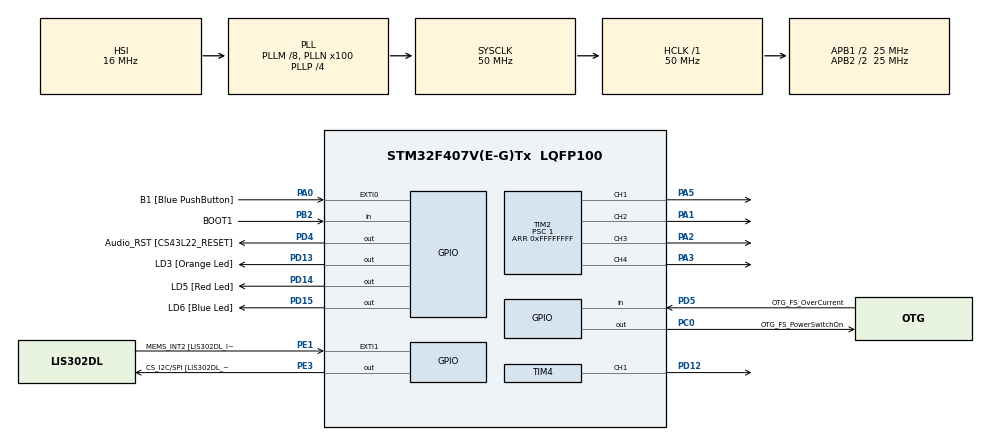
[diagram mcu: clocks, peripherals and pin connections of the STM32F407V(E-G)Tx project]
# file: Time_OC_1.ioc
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Dma.Request0=TIM4_CH1
Dma.TIM4_CH1.0.Direction=DMA_PERIPH_TO_MEMORY
Dma.TIM4_CH1.0.FIFOMode=DMA_FIFOMODE_DISABLE
Dma.TIM4_CH1.0.Instance=DMA1_Stream0
Dma.TIM4_CH1.0.MemDataAlignment=DMA_MDATAALIGN_HALFWORD
Dma.TIM4_CH1.0.MemInc=DMA_MINC_ENABLE
Dma.TIM4_CH1.0.Mode=DMA_NORMAL
Dma.TIM4_CH1.0.PeriphDataAlignment=DMA_PDATAALIGN_HALFWORD
Dma.TIM4_CH1.0.PeriphInc=DMA_PINC_DISABLE
Dma.TIM4_CH1.0.Priority=DMA_PRIORITY_LOW
Mcu.Family=STM32F4
Mcu.Name=STM32F407V(E-G)Tx
Mcu.Package=LQFP100
NVIC.DMA1_Stream0_IRQn=true\:0\:0\:false\:false\:true\:false\:true
NVIC.PriorityGroup=NVIC_PRIORITYGROUP_0
NVIC.TIM2_IRQn=true\:0\:0\:false\:false\:true\:true\:true
NVIC.TIM4_IRQn=true\:0\:0\:false\:false\:true\:true\:true
PA0-WKUP.GPIO_Label=B1 [Blue PushButton]
PA0-WKUP.Signal=GPXTI0
PA1.Signal=S_TIM2_CH2
PA10.GPIO_Label=OTG_FS_ID
PA10.GPIO_Mode=GPIO_MODE_AF_PP
PA10.GPIO_PuPd=GPIO_NOPULL
PA10.GPIO_Speed=GPIO_SPEED_FREQ_LOW
PA10.Signal=USB_OTG_FS_ID
PA11.GPIO_Label=OTG_FS_DM
PA11.GPIO_Mode=GPIO_MODE_AF_PP
PA11.GPIO_PuPd=GPIO_NOPULL
PA11.GPIO_Speed=GPIO_SPEED_FREQ_LOW
PA11.Signal=USB_OTG_FS_DM
PA12.GPIO_Label=OTG_FS_DP
PA12.GPIO_Mode=GPIO_MODE_AF_PP
PA12.GPIO_PuPd=GPIO_NOPULL
PA12.GPIO_Speed=GPIO_SPEED_FREQ_LOW
PA12.Signal=USB_OTG_FS_DP
PA13.GPIO_Label=SWDIO
PA13.Signal=SYS_JTMS-SWDIO
PA14.GPIO_Label=SWCLK
PA14.Signal=SYS_JTCK-SWCLK
PA2.Signal=S_TIM2_CH3
PA3.Signal=S_TIM2_CH4
PA4.GPIO_Label=I2S3_WS [CS43L22_LRCK]
PA4.GPIO_Mode=GPIO_MODE_AF_PP
PA4.GPIO_PuPd=GPIO_NOPULL
PA4.GPIO_Speed=GPIO_SPEED_FREQ_LOW
PA4.Signal=I2S3_WS
PA5.Signal=S_TIM2_CH1_ETR
PA6.GPIO_Label=SPI1_MISO [LIS302DL_SDO]
PA6.GPIO_Mode=GPIO_MODE_AF_PP
PA6.GPIO_PuPd=GPIO_NOPULL
PA6.GPIO_Speed=GPIO_SPEED_FREQ_LOW
PA6.Signal=SPI1_MISO
PA7.GPIO_Label=SPI1_MOSI [LIS302DL_SDA/SDI/SDO]
PA7.GPIO_Mode=GPIO_MODE_AF_PP
PA7.GPIO_PuPd=GPIO_NOPULL
PA7.GPIO_Speed=GPIO_SPEED_FREQ_LOW
PA7.Signal=SPI1_MOSI
PA9.GPIO_Label=VBUS_FS
PA9.GPIO_Mode=GPIO_MODE_INPUT
PA9.GPIO_PuPd=GPIO_NOPULL
PA9.Signal=USB_OTG_FS_VBUS
PB10.GPIO_Label=CLK_IN [MP45DT02_CLK]
PB10.GPIO_Mode=GPIO_MODE_AF_PP
PB10.GPIO_PuPd=GPIO_NOPULL
PB10.GPIO_Speed=GPIO_SPEED_FREQ_LOW
PB10.Signal=I2S2_CK
PB2.GPIO_Label=BOOT1
PB2.GPIO_Mode=GPIO_MODE_INPUT
PB2.GPIO_PuPd=GPIO_NOPULL
PB2.Signal=GPIO_Input
PB3.GPIO_Label=SWO
PB3.Signal=SYS_JTDO-SWO
PB6.GPIO_Label=Audio_SCL [CS43L22_SCL]
PB6.GPIO_Mode=GPIO_MODE_AF_OD
PB6.GPIO_PuPd=GPIO_NOPULL
PB6.GPIO_Speed=GPIO_SPEED_FREQ_LOW
PB6.Signal=I2C1_SCL
PB9.GPIO_Label=Audio_SDA [CS43L22_SDA]
PB9.GPIO_Mode=GPIO_MODE_AF_OD
PB9.GPIO_PuPd=GPIO_NOPULL
PB9.GPIO_Speed=GPIO_SPEED_FREQ_LOW
PB9.Signal=I2C1_SDA
PC0.GPIO_Label=OTG_FS_PowerSwitchOn
PC0.GPIO_PuPd=GPIO_NOPULL
PC0.GPIO_Speed=GPIO_SPEED_FREQ_LOW
PC0.PinState=GPIO_PIN_SET
PC0.Signal=GPIO_Output
PC10.GPIO_Label=I2S3_SCK [CS43L22_SCLK]
PC10.GPIO_Mode=GPIO_MODE_AF_PP
PC10.GPIO_PuPd=GPIO_NOPULL
PC10.GPIO_Speed=GPIO_SPEED_FREQ_LOW
PC10.Signal=I2S3_CK
PC12.GPIO_Label=I2S3_SD [CS43L22_SDIN]
PC12.GPIO_Mode=GPIO_MODE_AF_PP
PC12.GPIO_PuPd=GPIO_NOPULL
PC12.GPIO_Speed=GPIO_SPEED_FREQ_LOW
PC12.Signal=I2S3_SD
PC14-OSC32_IN.GPIO_Label=PC14-OSC32_IN
PC14-OSC32_IN.Signal=RCC_OSC32_IN
PC15-OSC32_OUT.GPIO_Label=PC15-OSC32_OUT
PC15-OSC32_OUT.Signal=RCC_OSC32_OUT
PC3.GPIO_Label=PDM_OUT [MP45DT02_DOUT]
PC3.GPIO_Mode=GPIO_MODE_AF_PP
PC3.GPIO_PuPd=GPIO_NOPULL
PC3.GPIO_Speed=GPIO_SPEED_FREQ_LOW
PC3.Signal=I2S2_SD
PC7.GPIO_Label=I2S3_MCK [CS43L22_MCLK]
PC7.GPIO_Mode=GPIO_MODE_AF_PP
PC7.GPIO_PuPd=GPIO_NOPULL
PC7.GPIO_Speed=GPIO_SPEED_FREQ_LOW
PC7.Signal=I2S3_MCK
PD12.Signal=S_TIM4_CH1
PD13.GPIO_Label=LD3 [Orange Led]
PD13.GPIO_PuPd=GPIO_NOPULL
PD13.GPIO_Speed=GPIO_SPEED_FREQ_LOW
PD13.Signal=GPIO_Output
PD14.GPIO_Label=LD5 [Red Led]
PD14.GPIO_PuPd=GPIO_NOPULL
PD14.GPIO_Speed=GPIO_SPEED_FREQ_LOW
PD14.Signal=GPIO_Output
PD15.GPIO_Label=LD6 [Blue Led]
PD15.GPIO_PuPd=GPIO_NOPULL
PD15.GPIO_Speed=GPIO_SPEED_FREQ_LOW
PD15.Signal=GPIO_Output
PD4.GPIO_Label=Audio_RST [CS43L22_RESET]
PD4.GPIO_PuPd=GPIO_NOPULL
PD4.GPIO_Speed=GPIO_SPEED_FREQ_LOW
PD4.Signal=GPIO_Output
PD5.GPIO_Label=OTG_FS_OverCurrent
PD5.GPIO_Mode=GPIO_MODE_INPUT
PD5.GPIO_PuPd=GPIO_NOPULL
PD5.Signal=GPIO_Input
PE1.GPIO_Label=MEMS_INT2 [LIS302DL_INT2]
PE1.GPIO_ModeDefaultEXTI=GPIO_MODE_EVT_RISING
PE1.GPIO_PuPd=GPIO_NOPULL
PE1.Signal=GPXTI1
PE3.GPIO_Label=CS_I2C/SPI [LIS302DL_CS_I2C/SPI]
PE3.GPIO_PuPd=GPIO_NOPULL
PE3.GPIO_Speed=GPIO_SPEED_FREQ_LOW
PE3.Signal=GPIO_Output
PH0-OSC_IN.GPIO_Label=PH0-OSC_IN
PH0-OSC_IN.Mode=HSE-External-Oscillator
PH0-OSC_IN.Signal=RCC_OSC_IN
PH1-OSC_OUT.GPIO_Label=PH1-OSC_OUT
PH1-OSC_OUT.Mode=HSE-External-Oscillator
PH1-OSC_OUT.Signal=RCC_OSC_OUT
ProjectManager.HeapSize=0x200
ProjectManager.StackSize=0x400
ProjectManager.TargetToolchain=STM32CubeIDE
RCC.48MHZClocksFreq_Value=28571428.57142857
RCC.AHBFreq_Value=50000000
RCC.APB1CLKDivider=RCC_HCLK_DIV2
RCC.APB1Freq_Value=25000000
RCC.APB1TimFreq_Value=50000000
RCC.APB2CLKDivider=RCC_HCLK_DIV2
RCC.APB2Freq_Value=25000000
RCC.APB2TimFreq_Value=50000000
RCC.CortexFreq_Value=50000000
RCC.HCLKFreq_Value=50000000
RCC.HSE_VALUE=8000000
RCC.HSI_VALUE=16000000
RCC.LSE_VALUE=32768
RCC.PLLM=8
RCC.PLLN=100
RCC.PLLP=RCC_PLLP_DIV4
RCC.PLLQ=7
RCC.SYSCLKFreq_VALUE=50000000
RCC.SYSCLKSource=RCC_SYSCLKSOURCE_PLLCLK
RCC.VCOOutputFreq_Value=200000000
SH.S_TIM2_CH1_ETR.0=TIM2_CH1,Output Compare1 CH1
SH.S_TIM2_CH2.0=TIM2_CH2,Output Compare2 CH2
SH.S_TIM2_CH3.0=TIM2_CH3,Output Compare3 CH3
SH.S_TIM2_CH4.0=TIM2_CH4,Output Compare4 CH4
SH.S_TIM4_CH1.0=TIM4_CH1,Output Compare1 CH1
TIM2.Channel-Output\ Compare1\ CH1=TIM_CHANNEL_1
TIM2.Channel-Output\ Compare2\ CH2=TIM_CHANNEL_2
TIM2.Channel-Output\ Compare3\ CH3=TIM_CHANNEL_3
TIM2.Channel-Output\ Compare4\ CH4=TIM_CHANNEL_4
TIM2.OC1Preload=DISABLE
TIM2.OC2Preload=DISABLE
TIM2.OC3Preload=DISABLE
TIM2.OC4Preload=DISABLE
TIM2.OCMode_1=TIM_OCMODE_TOGGLE
TIM2.OCMode_2=TIM_OCMODE_TOGGLE
TIM2.OCMode_3=TIM_OCMODE_TOGGLE
TIM2.OCMode_4=TIM_OCMODE_TOGGLE
TIM2.Period=0xFFFFFFFF
TIM2.Prescaler=1
TIM2.Pulse-Output\ Compare1\ CH1=25000
TIM2.Pulse-Output\ Compare2\ CH2=12500
TIM2.Pulse-Output\ Compare3\ CH3=6250
TIM2.Pulse-Output\ Compare4\ CH4=3125
TIM4.Channel-Output\ Compare1\ CH1=TIM_CHANNEL_1
TIM4.OCMode_1=TIM_OCMODE_TOGGLE
TIM4.Period=0xFFFF
TIM4.Prescaler=1999
TIM4.Pulse-Output\ Compare1\ CH1=12500
board=STM32F407G-DISC1

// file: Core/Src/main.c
/* USER CODE BEGIN Header */
/**
  ******************************************************************************
  * @file           : main.c
  * @brief          : Program configures and starts all 4 TIM2 channels in output capture mode and generates 4 different signals to be output
  * 				  on different pins.  A 0.5 Hz signal is generated using TIM4 CH1 output compare mode and output on PD12 to blink LED in 1s
  * 				  intervals.
  *
    				  TIM2 GPIO Configuration
						PA5     ------> TIM2_CH1 (500Hz)
						PA1     ------> TIM2_CH2 (1KHz)
						PA2     ------> TIM2_CH3 (2KHz)
						PA3     ------> TIM2_CH4 (4KHz)

    				  TIM4 GPIO Configuration
						PD12     ------> TIM4_CH1 (0.5Hz)
  *
  ******************************************************************************
  * @attention
  *
  * <h2><center>&copy; Copyright (c) 2020 STMicroelectronics.
  * All rights reserved.</center></h2>
  *
  * This software component is licensed by ST under BSD 3-Clause license,
  * the "License"; You may not use this file except in compliance with the
  * License. You may obtain a copy of the License at:
  *                        opensource.org/licenses/BSD-3-Clause
  *
  ******************************************************************************
  */
/* USER CODE END Header */

#include "main.h"

TIM_HandleTypeDef htim2;
TIM_HandleTypeDef htim4;
DMA_HandleTypeDef hdma_tim4_ch1;

void SystemClock_Config(void);
static void MX_GPIO_Init(void);
static void MX_DMA_Init(void);
static void MX_TIM2_Init(void);
static void MX_TIM4_Init(void);

int main(void)
{

  /* MCU Configuration--------------------------------------------------------*/

  /* Reset of all peripherals, Initializes the Flash interface and the Systick. */
  HAL_Init();

  /* Configure the system clock */
  SystemClock_Config();

  /* Initialize all configured peripherals */
  MX_GPIO_Init();
  MX_DMA_Init();
  MX_TIM2_Init();
  MX_TIM4_Init();
  /* USER CODE BEGIN 2 */

  if(HAL_TIM_OC_Start_IT(&htim2, TIM_CHANNEL_1) != HAL_OK) {
	  Error_Handler();
  }
  if(HAL_TIM_OC_Start_IT(&htim2, TIM_CHANNEL_2) != HAL_OK) {
	  Error_Handler();
  }
  if(HAL_TIM_OC_Start_IT(&htim2, TIM_CHANNEL_3) != HAL_OK) {
	  Error_Handler();
  }
  if(HAL_TIM_OC_Start_IT(&htim2, TIM_CHANNEL_4) != HAL_OK) {
	  Error_Handler();
  }
  if(HAL_TIM_OC_Start_IT(&htim4, TIM_CHANNEL_1) != HAL_OK) {
	  Error_Handler();
  }

  /* USER CODE END 2 */

  /* Infinite loop */
  while (1)
  {

  }
}

void SystemClock_Config(void)
{
  RCC_OscInitTypeDef RCC_OscInitStruct = {0};
  RCC_ClkInitTypeDef RCC_ClkInitStruct = {0};

  /** Configure the main internal regulator output voltage
  */
  __HAL_RCC_PWR_CLK_ENABLE();
  __HAL_PWR_VOLTAGESCALING_CONFIG(PWR_REGULATOR_VOLTAGE_SCALE1);
  /** Initializes the CPU, AHB and APB busses clocks
  */
  RCC_OscInitStruct.OscillatorType = RCC_OSCILLATORTYPE_HSI;
  RCC_OscInitStruct.HSIState = RCC_HSI_ON;
  RCC_OscInitStruct.HSICalibrationValue = RCC_HSICALIBRATION_DEFAULT;
  RCC_OscInitStruct.PLL.PLLState = RCC_PLL_ON;
  RCC_OscInitStruct.PLL.PLLSource = RCC_PLLSOURCE_HSI;
  RCC_OscInitStruct.PLL.PLLM = 8;
  RCC_OscInitStruct.PLL.PLLN = 100;
  RCC_OscInitStruct.PLL.PLLP = RCC_PLLP_DIV4;
  RCC_OscInitStruct.PLL.PLLQ = 7;
  if (HAL_RCC_OscConfig(&RCC_OscInitStruct) != HAL_OK)
  {
    Error_Handler();
  }
  /** Initializes the CPU, AHB and APB busses clocks
  */
  RCC_ClkInitStruct.ClockType = RCC_CLOCKTYPE_HCLK|RCC_CLOCKTYPE_SYSCLK
                              |RCC_CLOCKTYPE_PCLK1|RCC_CLOCKTYPE_PCLK2;
  RCC_ClkInitStruct.SYSCLKSource = RCC_SYSCLKSOURCE_PLLCLK;
  RCC_ClkInitStruct.AHBCLKDivider = RCC_SYSCLK_DIV1;
  RCC_ClkInitStruct.APB1CLKDivider = RCC_HCLK_DIV2;
  RCC_ClkInitStruct.APB2CLKDivider = RCC_HCLK_DIV2;

  if (HAL_RCC_ClockConfig(&RCC_ClkInitStruct, FLASH_LATENCY_1) != HAL_OK)
  {
    Error_Handler();
  }
}

static void MX_TIM2_Init(void)
{

  TIM_MasterConfigTypeDef sMasterConfig = {0};
  TIM_OC_InitTypeDef sConfigOC = {0};

  htim2.Instance = TIM2;
  htim2.Init.Prescaler = 1;
  htim2.Init.CounterMode = TIM_COUNTERMODE_UP;
  htim2.Init.Period = 0xFFFFFFFF;
  htim2.Init.ClockDivision = TIM_CLOCKDIVISION_DIV1;
  htim2.Init.AutoReloadPreload = TIM_AUTORELOAD_PRELOAD_DISABLE;
  if (HAL_TIM_OC_Init(&htim2) != HAL_OK)
  {
    Error_Handler();
  }
  sMasterConfig.MasterOutputTrigger = TIM_TRGO_RESET;
  sMasterConfig.MasterSlaveMode = TIM_MASTERSLAVEMODE_DISABLE;
  if (HAL_TIMEx_MasterConfigSynchronization(&htim2, &sMasterConfig) != HAL_OK)
  {
    Error_Handler();
  }
  sConfigOC.OCMode = TIM_OCMODE_TOGGLE;
  sConfigOC.Pulse = 25000;
  sConfigOC.OCPolarity = TIM_OCPOLARITY_HIGH;
  sConfigOC.OCFastMode = TIM_OCFAST_DISABLE;
  if (HAL_TIM_OC_ConfigChannel(&htim2, &sConfigOC, TIM_CHANNEL_1) != HAL_OK)
  {
    Error_Handler();
  }
  sConfigOC.Pulse = 12500;
  if (HAL_TIM_OC_ConfigChannel(&htim2, &sConfigOC, TIM_CHANNEL_2) != HAL_OK)
  {
    Error_Handler();
  }
  sConfigOC.Pulse = 6250;
  if (HAL_TIM_OC_ConfigChannel(&htim2, &sConfigOC, TIM_CHANNEL_3) != HAL_OK)
  {
    Error_Handler();
  }
  sConfigOC.Pulse = 3125;
  if (HAL_TIM_OC_ConfigChannel(&htim2, &sConfigOC, TIM_CHANNEL_4) != HAL_OK)
  {
    Error_Handler();
  }
  HAL_TIM_MspPostInit(&htim2);

}

static void MX_TIM4_Init(void)
{

  TIM_MasterConfigTypeDef sMasterConfig = {0};
  TIM_OC_InitTypeDef sConfigOC = {0};

  htim4.Instance = TIM4;
  htim4.Init.Prescaler = 1999;
  htim4.Init.CounterMode = TIM_COUNTERMODE_UP;
  htim4.Init.Period = 0xFFFF;
  htim4.Init.ClockDivision = TIM_CLOCKDIVISION_DIV1;
  htim4.Init.AutoReloadPreload = TIM_AUTORELOAD_PRELOAD_DISABLE;
  if (HAL_TIM_OC_Init(&htim4) != HAL_OK)
  {
    Error_Handler();
  }
  sMasterConfig.MasterOutputTrigger = TIM_TRGO_RESET;
  sMasterConfig.MasterSlaveMode = TIM_MASTERSLAVEMODE_DISABLE;
  if (HAL_TIMEx_MasterConfigSynchronization(&htim4, &sMasterConfig) != HAL_OK)
  {
    Error_Handler();
  }
  sConfigOC.OCMode = TIM_OCMODE_TOGGLE;
  sConfigOC.Pulse = 12500;
  sConfigOC.OCPolarity = TIM_OCPOLARITY_HIGH;
  sConfigOC.OCFastMode = TIM_OCFAST_DISABLE;
  if (HAL_TIM_OC_ConfigChannel(&htim4, &sConfigOC, TIM_CHANNEL_1) != HAL_OK)
  {
    Error_Handler();
  }
  HAL_TIM_MspPostInit(&htim4);

}

static void MX_DMA_Init(void)
{

  /* DMA controller clock enable */
  __HAL_RCC_DMA1_CLK_ENABLE();

  /* DMA interrupt init */
  /* DMA1_Stream0_IRQn interrupt configuration */
  HAL_NVIC_SetPriority(DMA1_Stream0_IRQn, 0, 0);
  HAL_NVIC_EnableIRQ(DMA1_Stream0_IRQn);

}

static void MX_GPIO_Init(void)
{
  GPIO_InitTypeDef GPIO_InitStruct = {0};

  /* GPIO Ports Clock Enable */
  __HAL_RCC_GPIOE_CLK_ENABLE();
  __HAL_RCC_GPIOC_CLK_ENABLE();
  __HAL_RCC_GPIOH_CLK_ENABLE();
  __HAL_RCC_GPIOA_CLK_ENABLE();
  __HAL_RCC_GPIOB_CLK_ENABLE();
  __HAL_RCC_GPIOD_CLK_ENABLE();

  /*Configure GPIO pin Output Level */
  HAL_GPIO_WritePin(CS_I2C_SPI_GPIO_Port, CS_I2C_SPI_Pin, GPIO_PIN_RESET);

  /*Configure GPIO pin Output Level */
  HAL_GPIO_WritePin(OTG_FS_PowerSwitchOn_GPIO_Port, OTG_FS_PowerSwitchOn_Pin, GPIO_PIN_SET);

  /*Configure GPIO pin Output Level */
  HAL_GPIO_WritePin(GPIOD, LD3_Pin|LD5_Pin|LD6_Pin|Audio_RST_Pin, GPIO_PIN_RESET);

  /*Configure GPIO pin : CS_I2C_SPI_Pin */
  GPIO_InitStruct.Pin = CS_I2C_SPI_Pin;
  GPIO_InitStruct.Mode = GPIO_MODE_OUTPUT_PP;
  GPIO_InitStruct.Pull = GPIO_NOPULL;
  GPIO_InitStruct.Speed = GPIO_SPEED_FREQ_LOW;
  HAL_GPIO_Init(CS_I2C_SPI_GPIO_Port, &GPIO_InitStruct);

  /*Configure GPIO pin : OTG_FS_PowerSwitchOn_Pin */
  GPIO_InitStruct.Pin = OTG_FS_PowerSwitchOn_Pin;
  GPIO_InitStruct.Mode = GPIO_MODE_OUTPUT_PP;
  GPIO_InitStruct.Pull = GPIO_NOPULL;
  GPIO_InitStruct.Speed = GPIO_SPEED_FREQ_LOW;
  HAL_GPIO_Init(OTG_FS_PowerSwitchOn_GPIO_Port, &GPIO_InitStruct);

  /*Configure GPIO pin : PDM_OUT_Pin */
  GPIO_InitStruct.Pin = PDM_OUT_Pin;
  GPIO_InitStruct.Mode = GPIO_MODE_AF_PP;
  GPIO_InitStruct.Pull = GPIO_NOPULL;
  GPIO_InitStruct.Speed = GPIO_SPEED_FREQ_LOW;
  GPIO_InitStruct.Alternate = GPIO_AF5_SPI2;
  HAL_GPIO_Init(PDM_OUT_GPIO_Port, &GPIO_InitStruct);

  /*Configure GPIO pin : B1_Pin */
  GPIO_InitStruct.Pin = B1_Pin;
  GPIO_InitStruct.Mode = GPIO_MODE_IT_RISING;
  GPIO_InitStruct.Pull = GPIO_NOPULL;
  HAL_GPIO_Init(B1_GPIO_Port, &GPIO_InitStruct);

  /*Configure GPIO pin : I2S3_WS_Pin */
  GPIO_InitStruct.Pin = I2S3_WS_Pin;
  GPIO_InitStruct.Mode = GPIO_MODE_AF_PP;
  GPIO_InitStruct.Pull = GPIO_NOPULL;
  GPIO_InitStruct.Speed = GPIO_SPEED_FREQ_LOW;
  GPIO_InitStruct.Alternate = GPIO_AF6_SPI3;
  HAL_GPIO_Init(I2S3_WS_GPIO_Port, &GPIO_InitStruct);

  /*Configure GPIO pins : SPI1_MISO_Pin SPI1_MOSI_Pin */
  GPIO_InitStruct.Pin = SPI1_MISO_Pin|SPI1_MOSI_Pin;
  GPIO_InitStruct.Mode = GPIO_MODE_AF_PP;
  GPIO_InitStruct.Pull = GPIO_NOPULL;
  GPIO_InitStruct.Speed = GPIO_SPEED_FREQ_LOW;
  GPIO_InitStruct.Alternate = GPIO_AF5_SPI1;
  HAL_GPIO_Init(GPIOA, &GPIO_InitStruct);

  /*Configure GPIO pin : BOOT1_Pin */
  GPIO_InitStruct.Pin = BOOT1_Pin;
  GPIO_InitStruct.Mode = GPIO_MODE_INPUT;
  GPIO_InitStruct.Pull = GPIO_NOPULL;
  HAL_GPIO_Init(BOOT1_GPIO_Port, &GPIO_InitStruct);

  /*Configure GPIO pin : CLK_IN_Pin */
  GPIO_InitStruct.Pin = CLK_IN_Pin;
  GPIO_InitStruct.Mode = GPIO_MODE_AF_PP;
  GPIO_InitStruct.Pull = GPIO_NOPULL;
  GPIO_InitStruct.Speed = GPIO_SPEED_FREQ_LOW;
  GPIO_InitStruct.Alternate = GPIO_AF5_SPI2;
  HAL_GPIO_Init(CLK_IN_GPIO_Port, &GPIO_InitStruct);

  /*Configure GPIO pins : LD3_Pin LD5_Pin LD6_Pin Audio_RST_Pin */
  GPIO_InitStruct.Pin = LD3_Pin|LD5_Pin|LD6_Pin|Audio_RST_Pin;
  GPIO_InitStruct.Mode = GPIO_MODE_OUTPUT_PP;
  GPIO_InitStruct.Pull = GPIO_NOPULL;
  GPIO_InitStruct.Speed = GPIO_SPEED_FREQ_LOW;
  HAL_GPIO_Init(GPIOD, &GPIO_InitStruct);

  /*Configure GPIO pins : I2S3_MCK_Pin I2S3_SCK_Pin I2S3_SD_Pin */
  GPIO_InitStruct.Pin = I2S3_MCK_Pin|I2S3_SCK_Pin|I2S3_SD_Pin;
  GPIO_InitStruct.Mode = GPIO_MODE_AF_PP;
  GPIO_InitStruct.Pull = GPIO_NOPULL;
  GPIO_InitStruct.Speed = GPIO_SPEED_FREQ_LOW;
  GPIO_InitStruct.Alternate = GPIO_AF6_SPI3;
  HAL_GPIO_Init(GPIOC, &GPIO_InitStruct);

  /*Configure GPIO pin : VBUS_FS_Pin */
  GPIO_InitStruct.Pin = VBUS_FS_Pin;
  GPIO_InitStruct.Mode = GPIO_MODE_INPUT;
  GPIO_InitStruct.Pull = GPIO_NOPULL;
  HAL_GPIO_Init(VBUS_FS_GPIO_Port, &GPIO_InitStruct);

  /*Configure GPIO pins : OTG_FS_ID_Pin OTG_FS_DM_Pin OTG_FS_DP_Pin */
  GPIO_InitStruct.Pin = OTG_FS_ID_Pin|OTG_FS_DM_Pin|OTG_FS_DP_Pin;
  GPIO_InitStruct.Mode = GPIO_MODE_AF_PP;
  GPIO_InitStruct.Pull = GPIO_NOPULL;
  GPIO_InitStruct.Speed = GPIO_SPEED_FREQ_LOW;
  GPIO_InitStruct.Alternate = GPIO_AF10_OTG_FS;
  HAL_GPIO_Init(GPIOA, &GPIO_InitStruct);

  /*Configure GPIO pin : OTG_FS_OverCurrent_Pin */
  GPIO_InitStruct.Pin = OTG_FS_OverCurrent_Pin;
  GPIO_InitStruct.Mode = GPIO_MODE_INPUT;
  GPIO_InitStruct.Pull = GPIO_NOPULL;
  HAL_GPIO_Init(OTG_FS_OverCurrent_GPIO_Port, &GPIO_InitStruct);

  /*Configure GPIO pins : Audio_SCL_Pin Audio_SDA_Pin */
  GPIO_InitStruct.Pin = Audio_SCL_Pin|Audio_SDA_Pin;
  GPIO_InitStruct.Mode = GPIO_MODE_AF_OD;
  GPIO_InitStruct.Pull = GPIO_PULLUP;
  GPIO_InitStruct.Speed = GPIO_SPEED_FREQ_LOW;
  GPIO_InitStruct.Alternate = GPIO_AF4_I2C1;
  HAL_GPIO_Init(GPIOB, &GPIO_InitStruct);

  /*Configure GPIO pin : MEMS_INT2_Pin */
  GPIO_InitStruct.Pin = MEMS_INT2_Pin;
  GPIO_InitStruct.Mode = GPIO_MODE_EVT_RISING;
  GPIO_InitStruct.Pull = GPIO_NOPULL;
  HAL_GPIO_Init(MEMS_INT2_GPIO_Port, &GPIO_InitStruct);

}

/* USER CODE BEGIN 4 */

uint32_t ccr_content;
uint32_t pulse1_value=25000;
uint32_t pulse2_value=12500;
uint32_t pulse3_value=6250;
uint32_t pulse4_value=3125;
void HAL_TIM_OC_DelayElapsedCallback(TIM_HandleTypeDef *htim) {

	/* TIM2_CH1 toggling with frequency = 500Hz */
	if(htim->Channel == HAL_TIM_ACTIVE_CHANNEL_1) {
		//Read value of CCR register
		ccr_content = HAL_TIM_ReadCapturedValue(htim, TIM_CHANNEL_1);

		__HAL_TIM_SET_COMPARE(htim, TIM_CHANNEL_1, ccr_content+pulse1_value);
	}

	/* TIM2_CH2 toggling with frequency = 1000Hz */
	if(htim->Channel == HAL_TIM_ACTIVE_CHANNEL_2) {
		//Read value of CCR register
		ccr_content = HAL_TIM_ReadCapturedValue(htim, TIM_CHANNEL_2);

		__HAL_TIM_SET_COMPARE(htim, TIM_CHANNEL_2, ccr_content+pulse2_value);

	}

	/* TIM2_CH3 toggling with frequency = 2000Hz */
	if(htim->Channel == HAL_TIM_ACTIVE_CHANNEL_3) {
		//Read value of CCR register
		ccr_content = HAL_TIM_ReadCapturedValue(htim, TIM_CHANNEL_3);

		__HAL_TIM_SET_COMPARE(htim, TIM_CHANNEL_3, ccr_content+pulse3_value);

	}

	/* TIM2_CH4 toggling with frequency = 4000Hz */
	if(htim->Channel == HAL_TIM_ACTIVE_CHANNEL_4) {
		//Read value of CCR register
		ccr_content = HAL_TIM_ReadCapturedValue(htim, TIM_CHANNEL_4);

		__HAL_TIM_SET_COMPARE(htim, TIM_CHANNEL_4, ccr_content+pulse4_value);

	}

}

/* USER CODE END 4 */

void Error_Handler(void)
{
}

/************************ (C) COPYRIGHT STMicroelectronics *****END OF FILE****/
